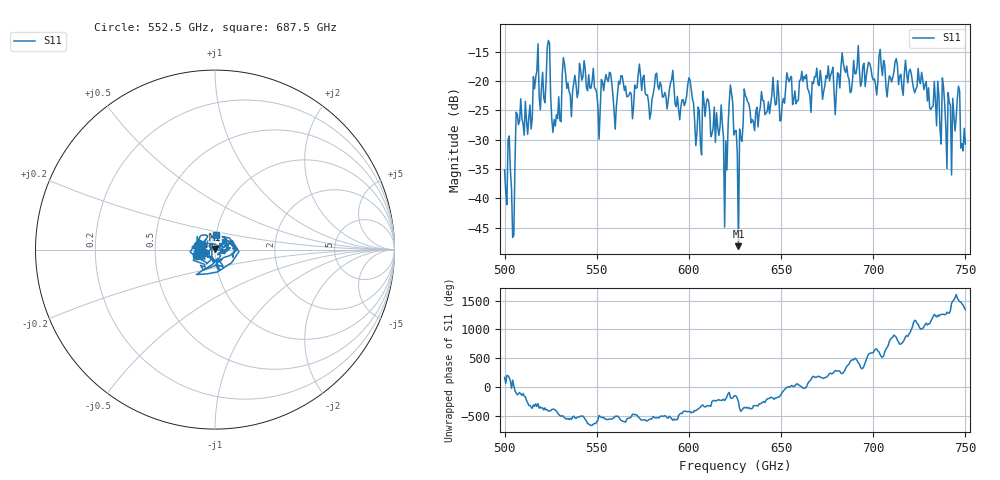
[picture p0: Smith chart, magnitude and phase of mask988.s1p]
!Created with skrf (http://scikit-rf.org).
# GHz S MA R 50.0
!freq magS11 angS11
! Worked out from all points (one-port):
!   401 points, 500 GHz to 750 GHz, reference 50 ohm
!   lowest |S11| = -48.1 dB at 626.9 GHz (marker M1), VSWR 1.01, Z = 49.9 + j0.375 ohm
!   |S11| at or under -10 dB: start of sweep to end of sweep
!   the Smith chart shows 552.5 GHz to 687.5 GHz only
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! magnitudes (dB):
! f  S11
! 500 GHz  -35.2
! 504.4 GHz  -46.6
! 507.5 GHz  -27.5
! 513.8 GHz  -24.1
! 516.9 GHz  -19.4
! 520.6 GHz  -18.5
! 523.8 GHz  -13.1
! 526.9 GHz  -26.6
! 531.2 GHz  -19.0
! 556.2 GHz  -20.1
! 560 GHz  -28.2
! 562.5 GHz  -20.6
! 593.8 GHz  -22.6
! 600.6 GHz  -19.9
! 605.6 GHz  -25.1
! 608.8 GHz  -26.1
! 620 GHz  -30.2
! 622.5 GHz  -20.7
! 625 GHz  -28.6
! 626.9 GHz  -48.1
! 631.2 GHz  -22.9
! 635 GHz  -27.0
! 656.2 GHz  -24.1
! 687.5 GHz  -22.0
! 718.8 GHz  -20.3
! 741.2 GHz  -23.7
! 745.6 GHz  -23.0
! 750 GHz  -30.8
